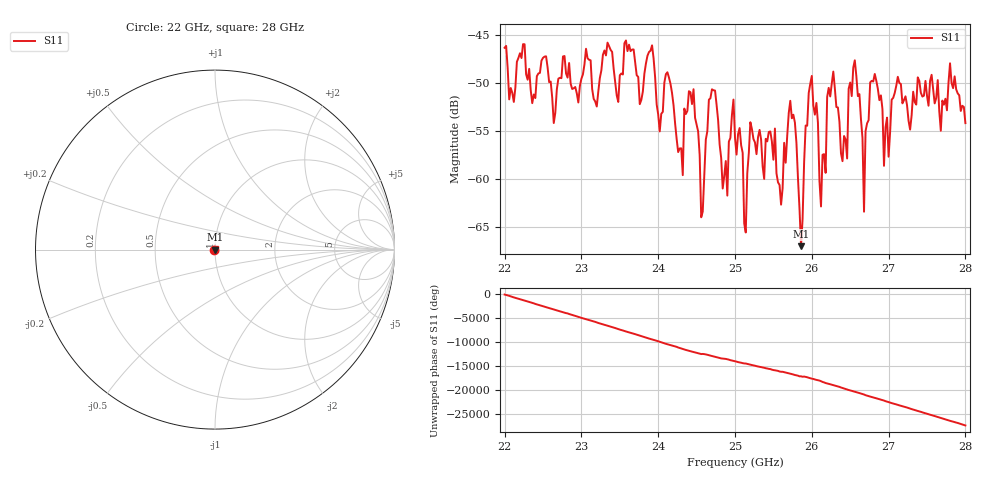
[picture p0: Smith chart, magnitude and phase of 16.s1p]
#  HZ  S  RI  R  50.00
! Rohde & Schwarz ZVA40 4Ports - Version 3.90 - 1145.1110k42 SN: 100403
! Date: 2023-10-04 07:13:57
! Measurement: S12
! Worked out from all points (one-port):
!   301 points, 22 GHz to 28 GHz, reference 50 ohm
!   lowest |S11| = -67.1 dB at 25.86 GHz (marker M1), VSWR 1.00, Z = 50 - j0.00327 ohm
!   |S11| at or under -10 dB: start of sweep to end of sweep
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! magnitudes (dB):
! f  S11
! 22 GHz  -46.4
! 22.64 GHz  -54.2
! 22.76 GHz  -47.3
! 23.5 GHz  -49.2
! 23.92 GHz  -46.1
! 24.26 GHz  -57.2
! 24.46 GHz  -50.7
! 24.56 GHz  -64.0
! 24.7 GHz  -50.7
! 24.84 GHz  -61.0
! 25 GHz  -55.7
! 25.14 GHz  -65.6
! 25.2 GHz  -54.1
! 25.6 GHz  -62.7
! 25.76 GHz  -53.3
! 25.86 GHz  -67.1
! 26 GHz  -49.3
! 26.12 GHz  -62.9
! 26.22 GHz  -50.5
! 26.4 GHz  -58.2
! 26.5 GHz  -50.0
! 26.62 GHz  -51.2
! 26.68 GHz  -63.5
! 26.76 GHz  -50.0
! 26.94 GHz  -58.7
! 27.12 GHz  -49.4
! 27.26 GHz  -54.0
! 28 GHz  -54.2
